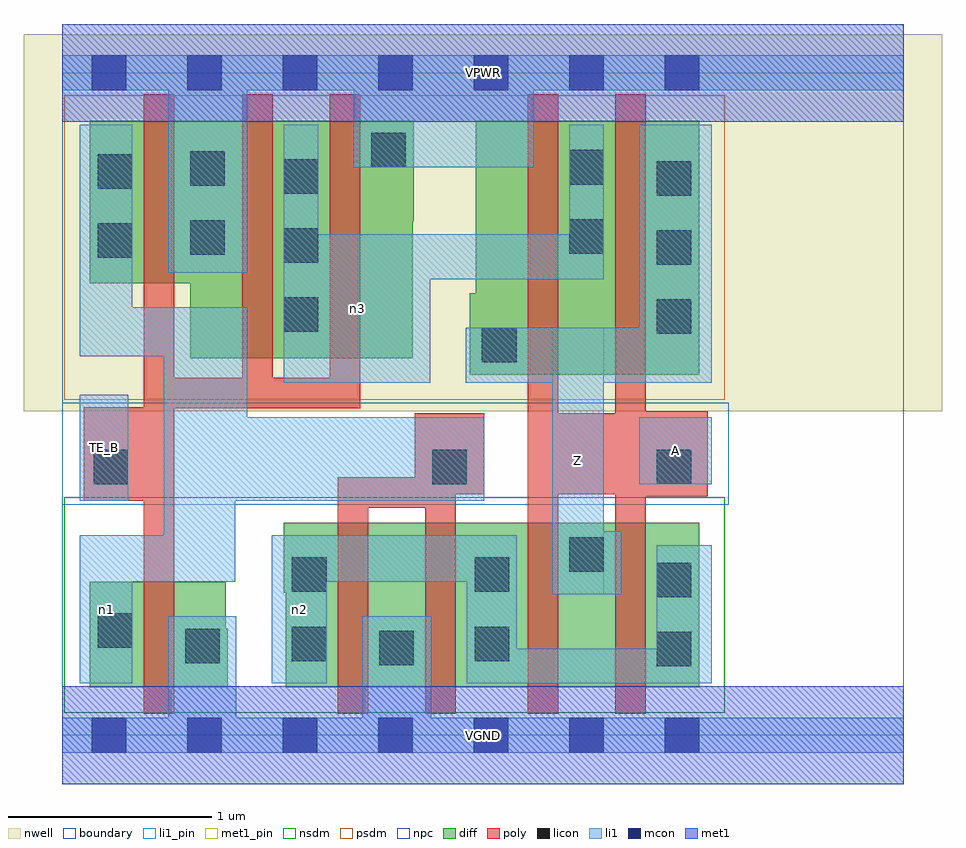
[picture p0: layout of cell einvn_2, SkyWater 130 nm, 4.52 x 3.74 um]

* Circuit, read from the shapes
.subckt einvn_2 A TE_B VGND VPWR Z n1 n2 n3
XM1 VGND TE_B n1 VSUBS sky130_fd_pr__nfet_01v8 w=0.52 l=0.15
XM2 VGND n1 n2 VSUBS sky130_fd_pr__nfet_01v8 w=0.81 l=0.15 m=2
XM3 Z A n2 VSUBS sky130_fd_pr__nfet_01v8 w=0.81 l=0.15 m=2
XM4 VPWR TE_B n1 n4 sky130_fd_pr__pfet_01v8 w=0.8 l=0.15
XM5 n3 TE_B VPWR n4 sky130_fd_pr__pfet_01v8 w=1.17 l=0.15 m=2
XM6 n3 A Z n4 sky130_fd_pr__pfet_01v8 w=1.25 l=0.15 m=2
.ends

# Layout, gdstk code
import gdstk
lib = gdstk.Library(unit=1e-6, precision=1e-09)
def R(c, l, rs):  # rectangles x0, y0, x1, y1
    for r in rs: c.add(gdstk.rectangle(r[:2], r[2:], *l))
def A(c, l, x, y, w, h, nx, ny, dx, dy):  # array of equal rectangles
    R(c, l, [(x+i*dx, y+j*dy, x+i*dx+w, y+j*dy+h) for i in range(nx) for j in range(ny)])
nwell = (64, 20)
diff = (65, 20)
poly = (66, 20)
licon = (66, 44)
li1_pin = (67, 16)
li1 = (67, 20)
mcon = (67, 44)
met1_pin = (68, 16)
met1 = (68, 20)
nsdm = (93, 44)
psdm = (94, 20)
npc = (95, 20)
boundary = (235, 4)

einvn_2 = lib.new_cell('einvn_2')
R(einvn_2, nwell, [(-0.19,1.595,4.33,3.45), (0,1.595,4.14,3.45)])
R(einvn_2, diff, [(0.135,0.235,0.805,0.755), (0.135,0.235,0.815,0.525), (1.1,0.235,3.135,1.045), (1.09,0.7,3.135,1.045), (2.005,1.775,3.135,2.175), (2.035,1.775,3.135,3.025), (0.63,1.855,1.725,3.025), (0.135,2.225,1.725,3.025), (0.135,2.53,1.73,3.025)])
R(einvn_2, poly, [(0.4,0.105,0.55,3.155), (1.355,0.105,1.505,1.27), (1.785,0.105,1.935,1.585), (2.29,0.105,2.44,3.155), (2.72,0.105,2.87,3.155), (1.355,1.12,1.935,1.27), (0.105,1.155,0.55,1.615), (2.72,1.175,3.175,1.595), (1.735,1.185,2.075,1.585), (2.29,1.185,3.175,1.585), (0.4,1.61,1.465,1.76), (0.885,1.61,1.035,3.155), (1.315,1.61,1.465,3.155)])
A(einvn_2, licon, 2.925, 1.975, 0.17, 0.17, 1, 3, 0, 0.34)
A(einvn_2, licon, 1.09, 1.985, 0.17, 0.17, 1, 3, 0, 0.34)
R(einvn_2, licon, [(2.925,0.34,3.095,0.51), (1.56,0.345,1.73,0.515), (0.605,0.355,0.775,0.525), (1.13,0.365,1.3,0.535), (2.03,0.365,2.2,0.535), (0.175,0.43,0.345,0.6), (2.925,0.68,3.095,0.85), (1.13,0.705,1.3,0.875), (2.03,0.705,2.2,0.875), (2.495,0.805,2.665,0.975), (0.155,1.235,0.325,1.405), (1.82,1.235,1.99,1.405), (2.925,1.235,3.095,1.405), (2.065,1.835,2.235,2.005), (0.175,2.35,0.345,2.52), (0.63,2.365,0.8,2.535), (2.495,2.37,2.665,2.54), (0.175,2.69,0.345,2.86), (0.63,2.705,0.8,2.875), (2.495,2.71,2.665,2.88), (1.52,2.795,1.69,2.965)])
R(einvn_2, li1_pin, [(2.41,0.695,2.665,2.005), (0.085,1.155,0.325,1.675), (2.84,1.235,3.195,1.565)])
R(einvn_2, li1, [(0,-0.085,4.14,0.085), (0.52,-0.085,0.855,0.585), (1.475,-0.085,1.815,0.585), (0.085,0.255,0.345,0.985), (1.03,0.255,1.3,0.985), (1.99,0.255,3.195,0.425), (1.99,0.255,2.235,0.985), (2.925,0.255,3.195,0.935), (2.41,0.695,2.665,2.005), (2.41,0.695,2.75,1.005), (0.085,0.755,0.85,0.985), (0.5,0.755,0.85,2.105), (1.03,0.755,2.235,0.985), (0.085,1.155,0.325,1.675), (0.5,1.155,2.075,1.565), (0.5,1.155,0.91,2.105), (2.84,1.235,3.195,1.565), (1.09,1.735,1.81,2.465), (1.09,1.735,1.26,3.005), (1.985,1.735,3.195,2.005), (2.84,1.735,3.195,3.005), (0.085,1.865,0.345,3.005), (0.085,1.865,0.91,2.105), (1.09,2.245,2.665,2.465), (2.495,2.245,2.665,3.005), (0.52,2.275,0.91,3.345), (1.435,2.795,2.32,3.345), (0,3.175,4.14,3.345)])
A(einvn_2, mcon, 0.145, -0.085, 0.17, 0.17, 7, 2, 0.47, 3.26)
R(einvn_2, met1_pin, [(0,-0.24,4.14,0.24), (0,3.02,4.14,3.5)])
R(einvn_2, met1, [(0,-0.24,4.14,0.24), (0,3.02,4.14,3.5)])
R(einvn_2, nsdm, [(0.01,0.11,3.26,1.17)])
R(einvn_2, psdm, [(0.01,1.65,3.26,3.15)])
R(einvn_2, npc, [(0,1.135,3.28,1.635)])
R(einvn_2, boundary, [(0,0,4.14,3.26)])
einvn_2.add(gdstk.Label('A', (3.017,1.4), layer=67, texttype=5))
einvn_2.add(gdstk.Label('TE_B', (0.205,1.415), layer=67, texttype=5))
einvn_2.add(gdstk.Label('Z', (2.537,1.35), layer=67, texttype=5))
einvn_2.add(gdstk.Label('n2', (1.165,0.62), layer=67, texttype=5))
einvn_2.add(gdstk.Label('n1', (0.215,0.62), layer=67, texttype=5))
einvn_2.add(gdstk.Label('n3', (1.45,2.1), layer=67, texttype=5))
einvn_2.add(gdstk.Label('VPWR', (2.07,3.26), layer=68, texttype=5))
einvn_2.add(gdstk.Label('VGND', (2.07,0), layer=68, texttype=5))
einvn_2.add(gdstk.Label('A', (3.017,1.4), layer=67, texttype=16))
einvn_2.add(gdstk.Label('TE_B', (0.205,1.415), layer=67, texttype=16))
einvn_2.add(gdstk.Label('Z', (2.537,1.35), layer=67, texttype=16))
einvn_2.add(gdstk.Label('VPWR', (2.07,3.26), layer=68, texttype=16))
einvn_2.add(gdstk.Label('VGND', (2.07,0), layer=68, texttype=16))

lib.write_gds('einvn_2.gds')
